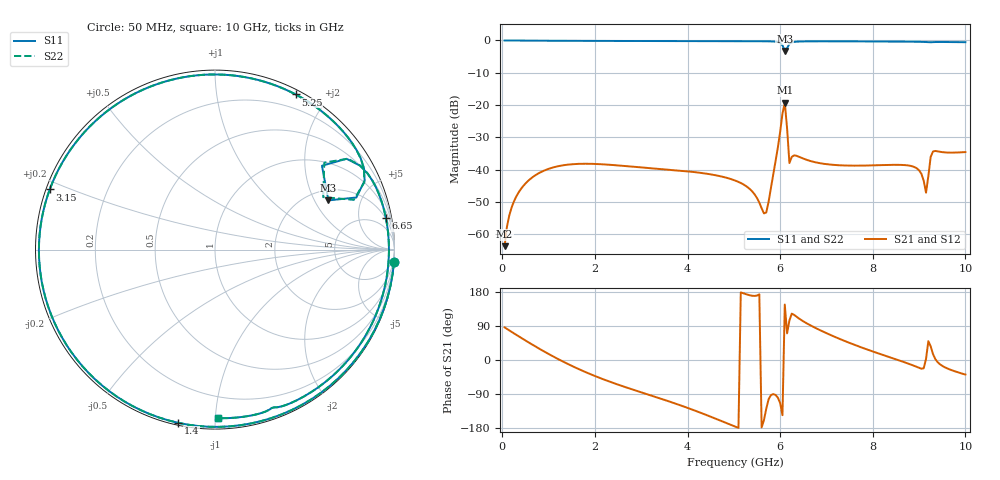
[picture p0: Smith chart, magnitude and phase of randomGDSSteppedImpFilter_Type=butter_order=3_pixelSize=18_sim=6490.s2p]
! freq	dB(S11)	phase(S11)	dB(S12)	phase(S12)
!  dB(S21)	phase(S21)	dB(S22)	phase(S22)
!S-par simulation data
#  GHz  S  DB  R 50
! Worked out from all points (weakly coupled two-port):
!   200 points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, 50 MHz to 10 GHz, reference 50 ohm
!   highest |S21| = -19.28 dB at 6.1 GHz (marker M1); lowest = -63.7 dB at 50 MHz (marker M2)
!   lowest |S11| = -3.2 dB at 6.1 GHz (marker M3), VSWR 5.43, Z = 125 + j130 ohm
!   |S11| at or under -10 dB: nowhere
!   |S22| runs from -3.5 to 0.0 dB; largest |S21 - S12| = 0
!   S11 on the Smith chart (normalised r, x): 50 MHz: 0, -29; 1.4 GHz: 0.01, -0.81; 3.15 GHz: 0.01, +0.18; 5.25 GHz: 0.05, +1.65; 6.65 GHz: 2, +11; 10 GHz: 0.06, -1.01
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0.05  -0.00 -3.9  -63.72 86.0  -63.72 86.0  -0.00 -3.9
0.15  -0.02 -11.7  -54.25 78.1  -54.25 78.1  -0.02 -11.8
0.4  -0.04 -31.0  -46.06 59.0  -46.06 59.0  -0.04 -31.0
1.4  -0.12 -101.9  -38.50 -9.6  -38.50 -9.6  -0.12 -101.9
1.75  -0.13 -123.9  -38.20 -29.4  -38.20 -29.4  -0.13 -123.9
2.45  -0.16 -163.8  -38.66 -62.9  -38.66 -62.9  -0.16 -163.8
3.15  -0.18 160.0  -39.50 -91.2  -39.50 -91.2  -0.18 160.0
3.4  -0.18 147.7  -39.79 -101.1  -39.79 -101.1  -0.18 147.6
4.25  -0.20 107.4  -40.95 -137.7  -40.95 -137.7  -0.20 107.4
5.05  -0.22 71.3  -43.51 -176.8  -43.51 -176.8  -0.22 71.3
5.25  -0.23 62.5  -44.98 174.1  -44.98 174.1  -0.23 62.5
5.7  -0.26 42.5  -53.28 -128.6  -53.28 -128.6  -0.26 42.4
6  -0.74 24.7  -28.30 -113.9  -28.30 -113.9  -0.80 24.2
6.1  -3.23 23.4  -19.28 146.3  -19.28 146.3  -3.48 25.9
6.2  -1.01 34.6  -37.98 104.2  -37.98 104.2  -0.94 34.4
6.65  -0.28 10.4  -37.33 91.6  -37.33 91.6  -0.28 10.4
6.7  -0.28 8.4  -37.53 88.4  -37.53 88.4  -0.28 8.4
8.35  -0.34 -46.0  -38.55 7.9  -38.55 7.9  -0.34 -46.0
8.95  -0.41 -62.8  -39.60 -18.3  -39.60 -18.3  -0.41 -62.8
9.15  -0.49 -68.3  -47.16 2.8  -47.16 2.8  -0.49 -68.3
9.3  -0.52 -71.3  -34.40 15.7  -34.40 15.7  -0.52 -71.3
10  -0.54 -89.1  -34.58 -38.5  -34.58 -38.5  -0.55 -89.1
